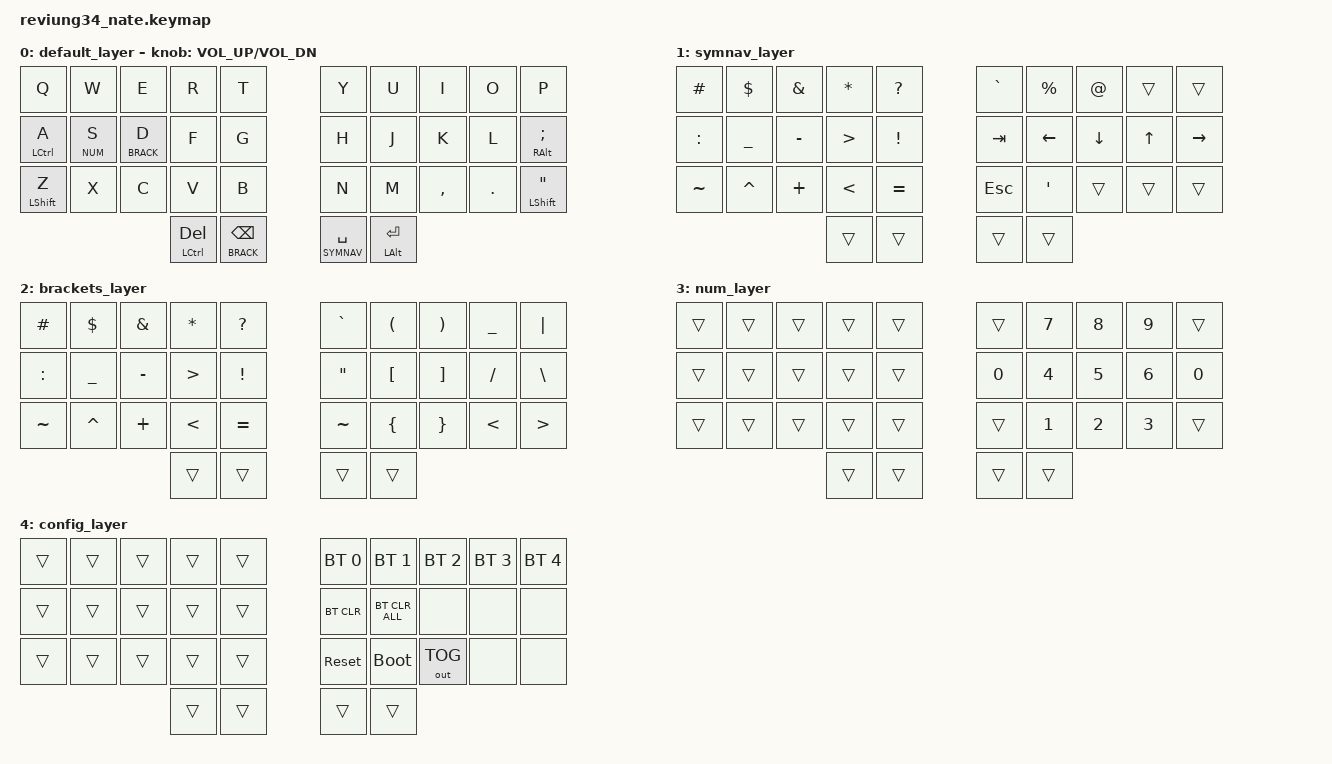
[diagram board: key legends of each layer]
/*
 * Copyright (c) 2020 The ZMK Contributors
 *
 * SPDX-License-Identifier: MIT
 */

#include <behaviors.dtsi>
#include <dt-bindings/zmk/keys.h>
#include <dt-bindings/zmk/bt.h>
#include <dt-bindings/zmk/rgb.h>
#include <dt-bindings/zmk/outputs.h>



#define DEFAULT 0
#define SYMNAV 1
#define BRACK 2
#define NUM 3
#define CONFIG 4

&mt {
    tapping-term-ms = <165>;
};

/ {
    combos {
        compatible = "zmk,combos";
        combo_tab {
            timeout-ms = <50>;
            key-positions = <16 17>;
            bindings = <&kp TAB>;
        };
        combo_shft_tab {
            timeout-ms = <50>;
            key-positions = <15 16>;
            bindings = <&kp RS(TAB)>;
        };
    };
    behaviors {
        hm: homerow_mods {
            compatible = "zmk,behavior-hold-tap";
            label = "HOMEROW_MODS";
            #binding-cells = <2>;
            tapping-term-ms = <150>;
            quick-tap-ms = <0>;
            flavor = "tap-preferred";
            bindings = <&kp>, <&kp>;
        };
    };
    conditional_layers {
        compatible = "zmk,conditional-layers";
        tri_layer {
            if-layers = <BRACK SYMNAV>;
            then-layer = <CONFIG>;
            };
        };

    keymap {
        compatible = "zmk,keymap";

default_layer {
// ------------------------------------
// | Q       | W      | E        | R       | T |      | Y | U       | I | O | P       |
// | CTRL(A) | NUM(S) | BRACK(D) | NAV1(F) | G |      | H | NAV2(J) | K | L | ALT(;)  |
// | SHFT(Z) | X      | C        | V       | B |      | N | M       | , | . | SHFT(") |
//                               |         |   |      |   |         |   |

    bindings = <
   &kp Q        &kp W      &kp E        &kp R          &kp T                 &kp Y  &kp U       &kp I      &kp O    &kp P
   &hm LCTRL A  &lt NUM S  &lt BRACK D  &kp F          &kp G                 &kp H  &kp J       &kp K      &kp L    &hm RALT SEMI
   &mt LSHFT Z  &kp X      &kp C        &kp V          &kp B                 &kp N  &kp M       &kp COMMA  &kp DOT  &mt LSHFT DQT
                                        &mt LCTRL DEL  &lt BRACK BSPC       &lt SYMNAV SPACE  &mt LALT RET
                        >;
                        sensor-bindings = <&inc_dec_kp C_VOL_UP C_VOL_DN>;
    };

symnav_layer {
// ------------------------------------
// | # | $ | & | * | ? |      | `   |  %  | @  |    |     |
// | : | _ | - | > | ! |      | TAB | LFT | DN | UP | RGT |
// | ~ | ^ | + | < | = |      | ESC | '   | ,  | .  |     |
//             |   |   |      |     |     |
bindings = <
   &kp HASH   &kp DLLR   &kp AMPS   &kp STAR   &kp QMARK     &kp GRAVE  &kp PRCNT  &kp AT    &trans  &trans
   &kp COLON  &kp UNDER  &kp MINUS  &kp GT     &kp EXCL      &kp TAB    &kp LEFT   &kp DOWN  &kp UP  &kp RIGHT
   &kp TILDE  &kp CARET  &kp PLUS   &kp LT     &kp EQUAL     &kp ESC    &kp APOS   &trans    &trans  &trans 
                                    &trans     &trans        &trans     &trans
>;
};

brackets_layer {
// ------------------------------------
//  | # | $ | & | * | ? |      | ` | ( | ) | " | | |
//  | : | _ | - | > | ! |      | " | [ | ] | / | \ |
//  | ~ | ^ | + | < | = |      | ~ | { | } | < | > |
//              |   |   |      |   |   |
bindings = <
   &kp HASH   &kp DLLR   &kp AMPS   &kp STAR  &kp QMARK     &kp GRAVE  &kp LPAR  &kp RPAR  &kp UNDER  &kp PIPE
   &kp COLON  &kp UNDER  &kp MINUS  &kp GT     &kp EXCL      &kp DQT    &kp LBKT  &kp RBKT  &kp FSLH   &kp BSLH
   &kp TILDE  &kp CARET  &kp PLUS   &kp LT     &kp EQUAL     &kp TILDE  &kp LBRC  &kp RBRC  &kp LT     &kp GT 
                                    &trans     &trans        &trans     &trans
>;
};

num_layer {
// ------------------------------------
// | | | | | |      |   | 7 | 8 | 9 |   |
// | | | | | |      | 0 | 4 | 5 | 6 | 0 |
// | | | | | |      |   | 1 | 2 | 3 |   |
//       | | |      |   |   |
bindings = <
   &trans &trans &trans &trans &trans     &trans  &kp N7  &kp N8  &kp N9  &trans 
   &trans &trans &trans &trans &trans     &kp N0  &kp N4  &kp N5  &kp N6  &kp N0
   &trans &trans &trans &trans &trans     &trans  &kp N1  &kp N2  &kp N3  &trans 
                        &trans &trans     &trans   &trans
>;
};


config_layer {
// ----------------------------------------------------
// | | | | | |     | BT1    | BT2   | BT3 | BT4 | BT5 |
// | | | | | |     | BT CLR |       |     |     |     |
// | | | | | |     | Reset  | btldr |     |     |     |
//       | | |     |        |       |
bindings = <
&trans &trans &trans &trans &trans       &bt BT_SEL 0 &bt BT_SEL 1 &bt BT_SEL 2 &bt BT_SEL 3 &bt BT_SEL 4
&trans &trans &trans &trans &trans       &bt BT_CLR   &bt BT_CLR_ALL  &none        &none        &none
&trans &trans &trans &trans &trans       &sys_reset   &bootloader  &out OUT_TOG &none        &none
                     &trans &trans       &trans       &trans
                        >;
        };
    };
};
